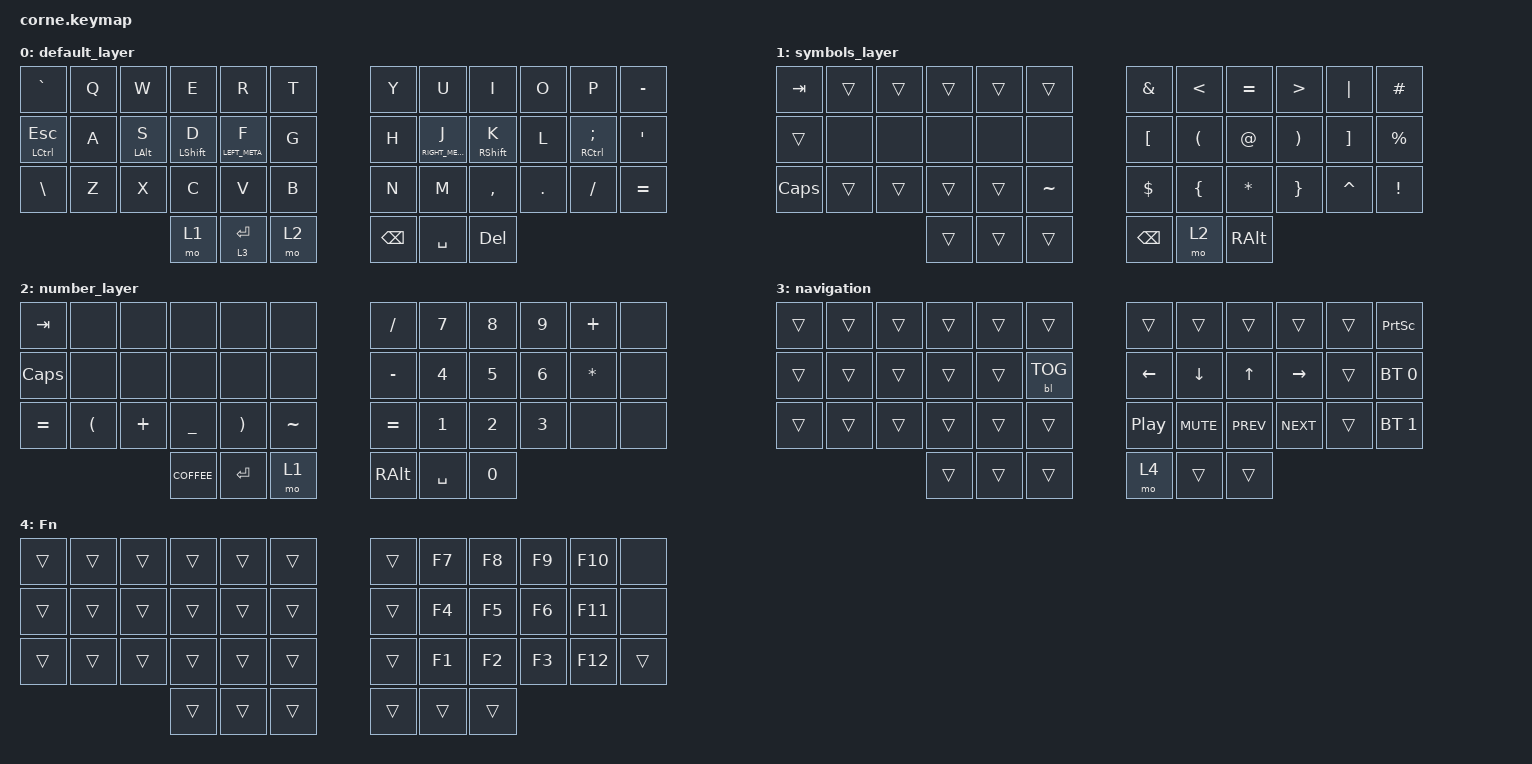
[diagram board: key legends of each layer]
/*
 * Copyright (c) 2020 The ZMK Contributors
 *
 * SPDX-License-Identifier: MIT
 */

#include <behaviors.dtsi>
#include <dt-bindings/zmk/backlight.h>
#include <dt-bindings/zmk/bt.h>
#include <dt-bindings/zmk/keys.h>

&sk { /delete-property/ ignore-modifiers; };

/ {
    macros {
        shift: with_lshift {
            compatible = "zmk,behavior-macro-one-param";
            #binding-cells = <1>;
            bindings =
                <&macro_press>,
                <&kp LSHFT>,
                <&macro_tap>,
                <&macro_param_1to1 &kp MACRO_PLACEHOLDER>,
                <&macro_release>,
                <&kp LSHFT>;

            label = "KEY_PRESS_WITH_LEFT_SHIFT_MODIFIER";
        };
    };

    behaviors {
        as_ht: autoshift_hold_tap {
            compatible = "zmk,behavior-hold-tap";
            label = "AUTOSHIFT_HOLD_TAP";
            bindings = <&shift>, <&kp>;

            #binding-cells = <2>;
            tapping-term-ms = <190>;
        };

        hml: homewrow_mods_left {
            compatible = "zmk,behavior-hold-tap";
            label = "HOMEROW_MODS_LEFT_HAND";
            bindings = <&kp>, <&kp>;

            #binding-cells = <2>;
            tapping-term-ms = <200>;
            hold-trigger-key-positions = <6 7 8 9 10 11 18 19 20 21 22 23 30 31 32 33 34 35 39 40 41>;
            quick-tap-ms = <150>;
            require-prior-idle-ms = <100>;
            flavor = "balanced";
            hold-trigger-on-release;
        };

        hmr: homewrow_mods_right {
            compatible = "zmk,behavior-hold-tap";
            label = "HOMEROW_MODS_RIGHT_HAND";
            bindings = <&kp>, <&kp>;

            #binding-cells = <2>;
            tapping-term-ms = <200>;
            hold-trigger-key-positions = <0 1 2 3 4 5 12 13 14 15 16 17 24 25 26 27 28 29 36 37 38>;
            quick-tap-ms = <150>;
            require-prior-idle-ms = <100>;
            flavor = "balanced";
            hold-trigger-on-release;
        };
    };

    combos {
        compatible = "zmk,combos";

        alttab {
            bindings = <&kp LA(TAB)>;
            key-positions = <0 38>;
        };

        wintab {
            bindings = <&kp LG(TAB)>;
            key-positions = <37 0>;
        };
    };

    keymap {
        compatible = "zmk,keymap";

        default_layer {
            // -----------------------------------------------------------------------------------------
            // |  TAB |  Q  |  W  |  E  |  R  |  T  |   |  Y  |  U   |  I  |  O  |  P  | BKSP |
            // | CTRL |  A  |  S  |  D  |  F  |  G  |   |  H  |  J   |  K  |  L  |  ;  |  '   |
            // | SHFT |  Z  |  X  |  C  |  V  |  B  |   |  N  |  M   |  ,  |  .  |  /  | ESC  |
            //                    | GUI | LWR | SPC |   | ENT | RSE  | ALT |

            bindings = <
&kp GRAVE       &kp Q  &kp W            &kp E              &kp R             &kp T    &kp Y          &kp U              &kp I               &kp O    &kp P                    &kp MINUS
&hml LCTRL ESC  &kp A  &hml LEFT_ALT S  &hml LEFT_SHIFT D  &hml LEFT_META F  &kp G    &kp H          &hmr RIGHT_META J  &hmr RIGHT_SHIFT K  &kp L    &hmr RIGHT_CONTROL SEMI  &kp SQT
&kp BACKSLASH   &kp Z  &kp X            &kp C              &kp V             &kp B    &kp N          &kp M              &kp COMMA           &kp DOT  &kp FSLH                 &kp EQUAL
                                        &mo 1              &lt 3 ENTER       &mo 2    &kp BACKSPACE  &kp SPACE          &kp DELETE
            >;
        };

        symbols_layer {
            // -----------------------------------------------------------------------------------------
            // |  TAB |  1  |  2  |  3  |  4  |  5  |   |  6  |  7  |  8  |  9  |  0  | BKSP |
            // | BTCLR| BT1 | BT2 | BT3 | BT4 | BT5 |   | LFT | DWN |  UP | RGT |     |      |
            // | SHFT |     |     |     |     |     |   |     |     |     |     |     |      |
            //                    | GUI |     | SPC |   | ENT |     | ALT |

            bindings = <
&kp TAB       &trans  &trans  &trans  &trans  &trans       &kp AMPS       &kp LESS_THAN         &kp EQUAL     &kp GREATER_THAN       &kp PIPE   &kp HASH
&trans        &none   &none   &none   &none   &none        &kp LBKT       &kp LEFT_PARENTHESIS  &kp AT        &kp RIGHT_PARENTHESIS  &kp RBKT   &kp PERCENT
&kp CAPSLOCK  &trans  &trans  &trans  &trans  &kp TILDE    &kp DOLLAR     &kp LEFT_BRACE        &kp ASTERISK  &kp RIGHT_BRACE        &kp CARET  &kp EXCLAMATION
                              &trans  &trans  &trans       &kp BACKSPACE  &mo 2                 &kp RALT
            >;
        };

        number_layer {
            // -----------------------------------------------------------------------------------------
            // |  TAB |  !  |  @  |  #  |  $  |  %  |   |  ^  |  &  |  *  |  (  |  )  | BKSP |
            // | CTRL |     |     |     |     |     |   |  -  |  =  |  [  |  ]  |  \  |  `   |
            // | SHFT |     |     |     |     |     |   |  _  |  +  |  {  |  }  | "|" |  ~   |
            //                    | GUI |     | SPC |   | ENT |     | ALT |

            bindings = <
&kp TAB       &none     &none     &none         &none      &none        &kp FSLH       &kp N7     &kp N8  &kp N9  &kp PLUS      &none
&kp CAPSLOCK  &none     &none     &none         &none      &none        &kp MINUS      &kp N4     &kp N5  &kp N6  &kp ASTERISK  &none
&kp EQUAL     &kp LPAR  &kp PLUS  &kp UNDER     &kp RPAR   &kp TILDE    &kp EQUAL      &kp N1     &kp N2  &kp N3  &none         &none
                                  &kp K_COFFEE  &kp ENTER  &mo 1        &kp RIGHT_ALT  &kp SPACE  &kp N0
            >;
        };

        navigation {
            bindings = <
&trans  &trans  &trans  &trans  &trans  &trans        &trans            &trans      &trans      &trans      &trans  &kp PRINTSCREEN
&trans  &trans  &trans  &trans  &trans  &bl BL_TOG    &kp LEFT_ARROW    &kp DOWN    &kp UP      &kp RIGHT   &trans  &bt BT_SEL 0
&trans  &trans  &trans  &trans  &trans  &trans        &kp C_PLAY_PAUSE  &kp K_MUTE  &kp C_PREV  &kp C_NEXT  &trans  &bt BT_SEL 1
                        &trans  &trans  &trans        &mo 4             &trans      &trans
            >;
        };

        Fn {
            bindings = <
&trans  &trans  &trans  &trans  &trans  &trans    &trans  &kp F7  &kp F8  &kp F9  &kp F10  &none
&trans  &trans  &trans  &trans  &trans  &trans    &trans  &kp F4  &kp F5  &kp F6  &kp F11  &none
&trans  &trans  &trans  &trans  &trans  &trans    &trans  &kp F1  &kp F2  &kp F3  &kp F12  &trans
                        &trans  &trans  &trans    &trans  &trans  &trans
            >;
        };
    };

    conditional_layers { compatible = "zmk,conditional-layers"; };
};
